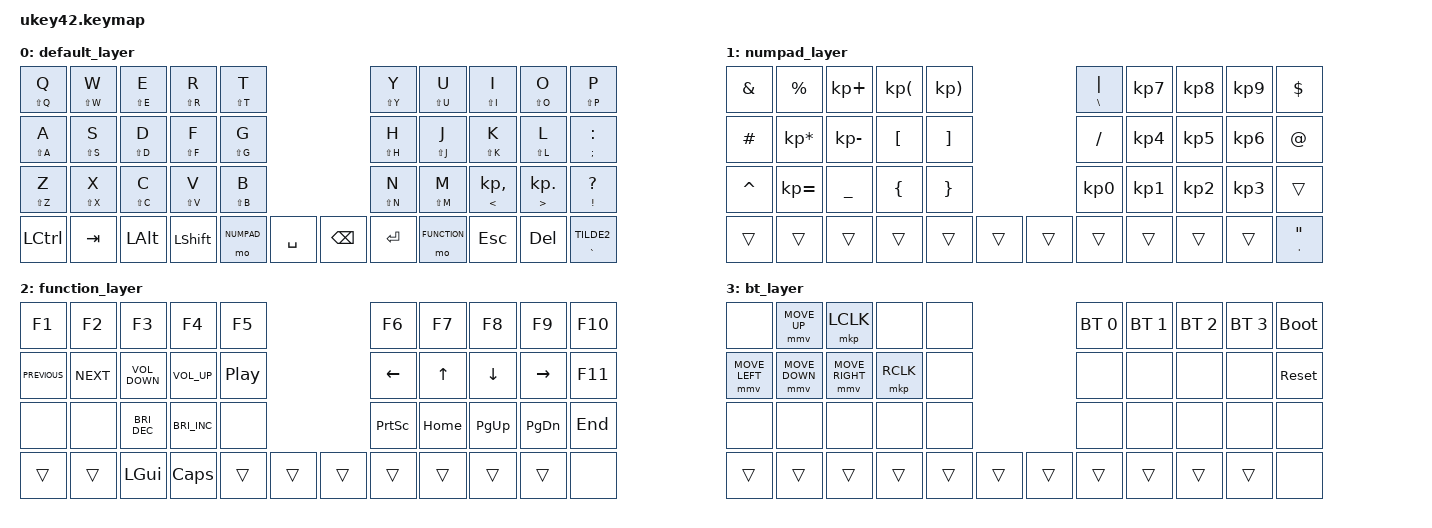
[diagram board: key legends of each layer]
#include <behaviors.dtsi>
#include <dt-bindings/zmk/keys.h>
#include <dt-bindings/zmk/bt.h>
#include <dt-bindings/zmk/pointing.h>

#define QWERTY      0
#define NUMPAD      1
#define FUNCTION    2
#define BT          3

//#define ZMK_POINTING_DEFAULT_MOVE_VAL 1500  // default: 600
//#define ZMK_POINTING_DEFAULT_SCRL_VAL 20    // default: 10

/ {
    conditional_layer {
        compatible = "zmk,conditional-layer";
        bt_layer { 
            if-layer = <NUMPAD FUNCTION>;
            then-layer = <BT>;
        };
    };


    keymap {
        compatible = "zmk,keymap";
        
        default_layer {

            bindings = <
                &mt LS(Q) Q   &mt LS(W) W   &mt LS(E) E   &mt LS(R) R    &mt LS(T) T                               &mt LS(Y) Y   &mt LS(U) U   &mt LS(I) I              &mt LS(O) O                 &mt LS(P) P
                &mt LS(A) A   &mt LS(S) S   &mt LS(D) D   &mt LS(F) F    &mt LS(G) G                               &mt LS(H) H   &mt LS(J) J   &mt LS(K) K              &mt LS(L) L                 &mt SEMICOLON COLON
                &mt LS(Z) Z   &mt LS(X) X   &mt LS(C) C   &mt LS(V) V    &mt LS(B) B                               &mt LS(N) N   &mt LS(M) M   &mt LESS_THAN KP_COMMA   &mt GREATER_THAN KP_DOT     &mt EXCLAMATION QUESTION 
                &kp LCTRL     &kp TAB       &kp LALT      &kp LSHIFT     &mo NUMPAD    &kp SPACE   &kp BACKSPACE   &kp ENTER     &mo FUNCTION   &kp ESCAPE               &kp DELETE                &mt GRAVE TILDE2
            >;
        };


        numpad_layer {
            
            bindings = <
                &kp AMPERSAND   &kp PERCENT       &kp KP_PLUS      &kp KP_LEFT_PARENTHESIS   &kp KP_RIGHT_PARENTHESIS                     &mt BACKSLASH PIPE   &kp KP_NUMBER_7   &kp KP_NUMBER_8   &kp KP_NUMBER_9   &kp DOLLAR
                &kp HASH        &kp KP_MULTIPLY   &kp KP_MINUS     &kp LEFT_BRACKET          &kp RIGHT_BRACKET                            &kp SLASH            &kp KP_NUMBER_4   &kp KP_NUMBER_5   &kp KP_NUMBER_6   &kp AT_SIGN 
                &kp CARET       &kp KP_EQUAL      &kp UNDERSCORE   &kp LEFT_BRACE            &kp RIGHT_BRACE                              &kp KP_NUMBER_0      &kp KP_NUMBER_1   &kp KP_NUMBER_2   &kp KP_NUMBER_3   &trans 
                &trans          &trans            &trans           &trans                    &trans                     &trans   &trans   &trans               &trans            &trans            &trans            &mt SQT DQT
            >;
        };


        function_layer {

            bindings = <
                &kp F1           &kp F2       &kp F3                  &kp F4                 &kp F5                               &kp F6            &kp F7     &kp F8        &kp F9          &kp F10 
                &kp C_PREVIOUS   &kp C_NEXT   &kp C_VOLUME_DOWN       &kp C_VOLUME_UP        &kp C_PLAY_PAUSE                     &kp LEFT          &kp UP     &kp DOWN      &kp RIGHT       &kp F11 
                &none            &none        &kp C_BRIGHTNESS_DEC    &kp C_BRIGHTNESS_INC   &none                                &kp PRINTSCREEN   &kp HOME   &kp PAGE_UP   &kp PAGE_DOWN   &kp END     
                &trans           &trans       &kp LEFT_GUI            &kp CAPSLOCK           &trans             &trans   &trans   &trans            &trans     &trans        &trans          &none     
            >;
        };


        bt_layer {

            bindings = <
                &none            &mmv MOVE_UP     &mkp LCLK         &none       &none                      &bt BT_SEL 0   &bt BT_SEL 1   &bt BT_SEL 2   &bt BT_SEL 3   &bootloader  
                &mmv MOVE_LEFT   &mmv MOVE_DOWN   &mmv MOVE_RIGHT   &mkp RCLK   &none                      &none          &none          &none          &none          &sys_reset
                &none            &none            &none             &none       &none                      &none          &none          &none          &none          &none     
                &trans           &trans           &trans            &trans      &trans   &trans   &trans   &trans         &trans         &trans         &trans         &none     
            >;
        };
    };
};
